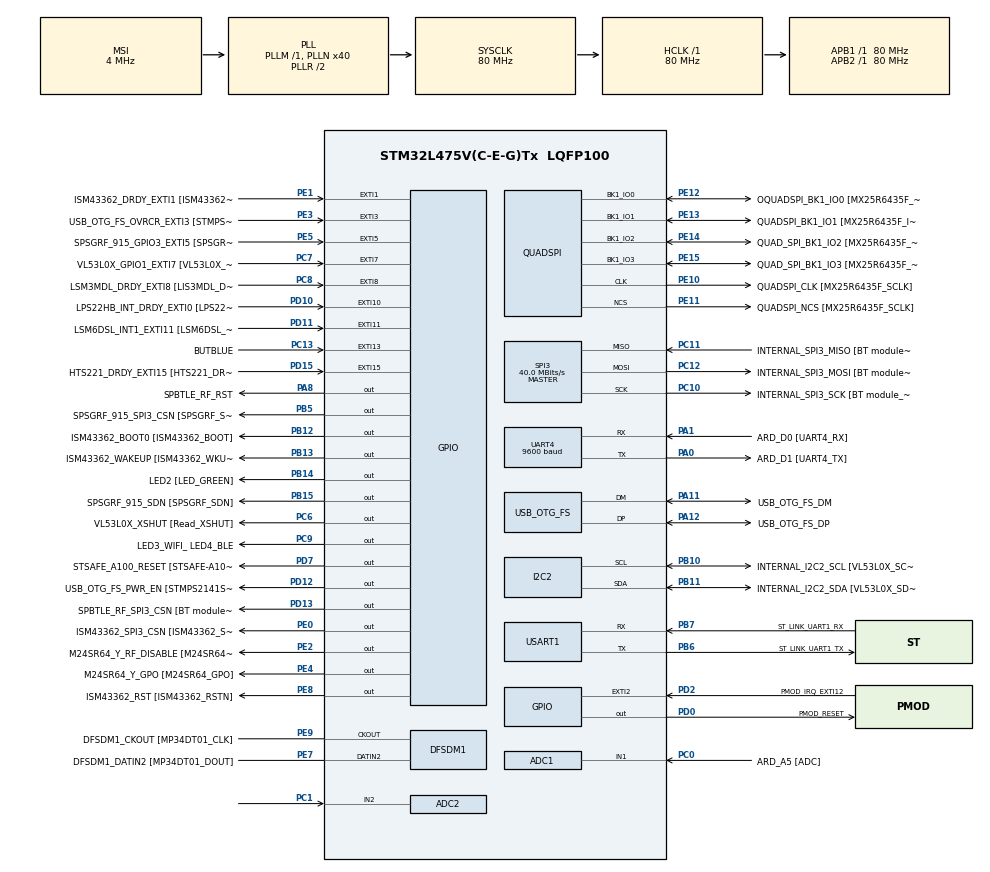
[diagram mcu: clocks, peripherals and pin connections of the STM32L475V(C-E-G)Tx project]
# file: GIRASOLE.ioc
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ADC1.Channel-0\#ChannelRegularConversion=ADC_CHANNEL_1
ADC1.NbrOfConversionFlag=1
ADC1.OffsetNumber-0\#ChannelRegularConversion=ADC_OFFSET_NONE
ADC1.Rank-0\#ChannelRegularConversion=1
ADC1.SamplingTime-0\#ChannelRegularConversion=ADC_SAMPLETIME_2CYCLES_5
ADC1.master=1
ADC2.Channel-0\#ChannelRegularConversion=ADC_CHANNEL_2
ADC2.NbrOfConversionFlag=1
ADC2.OffsetNumber-0\#ChannelRegularConversion=ADC_OFFSET_NONE
ADC2.Rank-0\#ChannelRegularConversion=1
ADC2.SamplingTime-0\#ChannelRegularConversion=ADC_SAMPLETIME_2CYCLES_5
FREERTOS.BinarySemaphores01=rpanel_sem,Dynamic,NULL;lpanel_sem,Dynamic,NULL;led1_sem,Dynamic,NULL;led2_sem,Dynamic,NULL;led3_sem,Dynamic,NULL;button_sem,Dynamic,NULL
FREERTOS.Mutexes01=MutexPD,Dynamic,NULL
FREERTOS.Tasks01=ReadLeftPanel,0,128,StartReadLeftPanel,Default,NULL,Dynamic,NULL,NULL;ReadRightPanel,0,128,StartReadRightPanel,Default,NULL,Dynamic,NULL,NULL;SerialDebug,0,128,StartSerialDebug,Default,NULL,Dynamic,NULL,NULL;SyncButtonTask,1,128,StartSyncButton,Default,NULL,Dynamic,NULL,NULL;ledTask1,0,128,StartLedTask1,Default,NULL,Dynamic,NULL,NULL;ledTask2,0,128,StartLedTask2,Default,NULL,Dynamic,NULL,NULL;ledTask3,0,128,StartLedTask3,Default,NULL,Dynamic,NULL,NULL
FREERTOS.configTOTAL_HEAP_SIZE=6000
Mcu.Family=STM32L4
Mcu.Name=STM32L475V(C-E-G)Tx
Mcu.Package=LQFP100
NVIC.EXTI15_10_IRQn=true\:5\:0\:false\:false\:true\:true\:true\:true
NVIC.EXTI9_5_IRQn=true\:5\:0\:false\:false\:true\:true\:true\:true
NVIC.PriorityGroup=NVIC_PRIORITYGROUP_4
NVIC.TIM1_UP_TIM16_IRQn=true\:0\:0\:false\:false\:true\:false\:false\:true
NVIC.TimeBase=TIM1_UP_TIM16_IRQn
NVIC.TimeBaseIP=TIM1
NVIC.UART4_IRQn=true\:5\:0\:false\:false\:true\:true\:true\:true
PA0.GPIO_Label=ARD_D1 [UART4_TX]
PA0.Mode=Asynchronous
PA0.Signal=UART4_TX
PA1.GPIO_Label=ARD_D0 [UART4_RX]
PA1.Mode=Asynchronous
PA1.Signal=UART4_RX
PA10.GPIO_Label=USB_OTG_FS_ID
PA10.Signal=USB_OTG_FS_ID
PA11.GPIO_Label=USB_OTG_FS_DM
PA11.Mode=Device_Only
PA11.Signal=USB_OTG_FS_DM
PA12.GPIO_Label=USB_OTG_FS_DP
PA12.Mode=Device_Only
PA12.Signal=USB_OTG_FS_DP
PA13\ (JTMS-SWDIO).GPIO_Label=SYS_JTMS_SWDIO
PA13\ (JTMS-SWDIO).Mode=Serial_Wire
PA13\ (JTMS-SWDIO).Signal=SYS_JTMS-SWDIO
PA14\ (JTCK-SWCLK).GPIO_Label=SYS_JTCK_SWCLK
PA14\ (JTCK-SWCLK).Mode=Serial_Wire
PA14\ (JTCK-SWCLK).Signal=SYS_JTCK-SWCLK
PA8.GPIO_Label=SPBTLE_RF_RST
PA8.Signal=GPIO_Output
PA9.GPIO_Label=USB_OTG_FS_VBUS [STMPS2141STR_OUT]
PA9.Signal=USB_OTG_FS_VBUS
PB10.GPIO_Label=INTERNAL_I2C2_SCL [VL53L0X_SCL]
PB10.Mode=I2C
PB10.Signal=I2C2_SCL
PB11.GPIO_Label=INTERNAL_I2C2_SDA [VL53L0X_SDA]
PB11.Mode=I2C
PB11.Signal=I2C2_SDA
PB12.GPIO_Label=ISM43362_BOOT0 [ISM43362_BOOT]
PB12.Signal=GPIO_Output
PB13.GPIO_Label=ISM43362_WAKEUP [ISM43362_WKUP]
PB13.Signal=GPIO_Output
PB14.GPIO_Label=LED2 [LED_GREEN]
PB14.Signal=GPIO_Output
PB15.GPIO_Label=SPSGRF_915_SDN [SPSGRF_SDN]
PB15.Signal=GPIO_Output
PB3\ (JTDO-TRACESWO).GPIO_Label=SYS_JTD0_SWO
PB3\ (JTDO-TRACESWO).Signal=SYS_JTDO-SWO
PB5.GPIO_Label=SPSGRF_915_SPI3_CSN [SPSGRF_SPI_CS]
PB5.PinState=GPIO_PIN_SET
PB5.Signal=GPIO_Output
PB6.GPIO_Label=ST_LINK_UART1_TX
PB6.Mode=Asynchronous
PB6.Signal=USART1_TX
PB7.GPIO_Label=ST_LINK_UART1_RX
PB7.Mode=Asynchronous
PB7.Signal=USART1_RX
PC0.GPIO_Label=ARD_A5 [ADC]
PC0.Signal=ADCx_IN1
PC1.Signal=ADCx_IN2
PC10.GPIO_Label=INTERNAL_SPI3_SCK [BT module_SPI_SCLK] [ISM43362_SCK]
PC10.Mode=Full_Duplex_Master
PC10.Signal=SPI3_SCK
PC11.GPIO_Label=INTERNAL_SPI3_MISO [BT module_SPI_MISO] [ISM43362_MISO]
PC11.Mode=Full_Duplex_Master
PC11.Signal=SPI3_MISO
PC12.GPIO_Label=INTERNAL_SPI3_MOSI [BT module_SPI_MOSI] [ISM43362_MOSI]
PC12.Mode=Full_Duplex_Master
PC12.Signal=SPI3_MOSI
PC13.GPIO_Label=BUTBLUE
PC13.GPIO_ModeDefaultEXTI=GPIO_MODE_IT_FALLING
PC13.Signal=GPXTI13
PC14-OSC32_IN\ (PC14).Mode=LSE-External-Oscillator
PC14-OSC32_IN\ (PC14).Signal=RCC_OSC32_IN
PC15-OSC32_OUT\ (PC15).Mode=LSE-External-Oscillator
PC15-OSC32_OUT\ (PC15).Signal=RCC_OSC32_OUT
PC6.GPIO_Label=VL53L0X_XSHUT [Read_XSHUT]
PC6.Signal=GPIO_Output
PC7.GPIO_Label=VL53L0X_GPIO1_EXTI7 [VL53L0X_GPIO1]
PC7.Signal=GPXTI7
PC8.GPIO_Label=LSM3MDL_DRDY_EXTI8 [LIS3MDL_DRDY]
PC8.Signal=GPXTI8
PC9.GPIO_Label=LED3_WIFI_ LED4_BLE
PC9.Signal=GPIO_Output
PD0.GPIO_Label=PMOD_RESET
PD0.Signal=GPIO_Output
PD1.GPIO_Label=PMOD_SPI2_SCK
PD1.Signal=SPI2_SCK
PD10.GPIO_Label=LPS22HB_INT_DRDY_EXTI0 [LPS22HB_INT_DRDY] 
PD10.Signal=GPXTI10
PD11.GPIO_Label=LSM6DSL_INT1_EXTI11 [LSM6DSL_INT1]
PD11.Signal=GPXTI11
PD12.GPIO_Label=USB_OTG_FS_PWR_EN [STMPS2141STR_EN]
PD12.Signal=GPIO_Output
PD13.GPIO_Label=SPBTLE_RF_SPI3_CSN [BT module_SPI_CS]
PD13.PinState=GPIO_PIN_SET
PD13.Signal=GPIO_Output
PD15.GPIO_Label=HTS221_DRDY_EXTI15 [HTS221_DRDY]
PD15.Signal=GPXTI15
PD2.GPIO_Label=PMOD_IRQ_EXTI12
PD2.Signal=GPXTI2
PD7.GPIO_Label=STSAFE_A100_RESET [STSAFE-A100_RESET]
PD7.Signal=GPIO_Output
PD8.GPIO_Label=INTERNAL_UART3_TX [ISM43362_RX]
PD8.Signal=USART3_TX
PD9.GPIO_Label=INTERNAL_UART3_RX [ISM43362_TX]
PD9.Signal=USART3_RX
PE0.GPIO_Label=ISM43362_SPI3_CSN [ISM43362_SSN]
PE0.PinState=GPIO_PIN_SET
PE0.Signal=GPIO_Output
PE1.GPIO_Label=ISM43362_DRDY_EXTI1 [ISM43362_DATARDY]
PE1.Signal=GPXTI1
PE10.GPIO_Label=QUADSPI_CLK [MX25R6435F_SCLK]
PE10.Mode=Single Bank
PE10.Signal=QUADSPI_CLK
PE11.GPIO_Label=QUADSPI_NCS [MX25R6435F_SCLK]
PE11.Mode=Single Bank
PE11.Signal=QUADSPI_NCS
PE12.GPIO_Label=OQUADSPI_BK1_IO0 [MX25R6435F_IO0]
PE12.Mode=Single Bank
PE12.Signal=QUADSPI_BK1_IO0
PE13.GPIO_Label=QUADSPI_BK1_IO1 [MX25R6435F_IO1]
PE13.Mode=Single Bank
PE13.Signal=QUADSPI_BK1_IO1
PE14.GPIO_Label=QUAD_SPI_BK1_IO2 [MX25R6435F_IO2]
PE14.Mode=Single Bank
PE14.Signal=QUADSPI_BK1_IO2
PE15.GPIO_Label=QUAD_SPI_BK1_IO3 [MX25R6435F_IO3]
PE15.Mode=Single Bank
PE15.Signal=QUADSPI_BK1_IO3
PE2.GPIO_Label=M24SR64_Y_RF_DISABLE [M24SR64_RFDIS]
PE2.Signal=GPIO_Output
PE3.GPIO_Label=USB_OTG_FS_OVRCR_EXTI3 [STMPS2141STR_FAULT]
PE3.Signal=GPXTI3
PE4.GPIO_Label=M24SR64_Y_GPO [M24SR64_GPO]
PE4.Signal=GPIO_Output
PE5.GPIO_Label=SPSGRF_915_GPIO3_EXTI5 [SPSGRF_GPIO_3]
PE5.Signal=GPXTI5
PE7.GPIO_Label=DFSDM1_DATIN2 [MP34DT01_DOUT]
PE7.Signal=S_DATAIN2DFSDM1
PE8.GPIO_Label=ISM43362_RST [ISM43362_RSTN]
PE8.Signal=GPIO_Output
PE9.GPIO_Label=DFSDM1_CKOUT [MP34DT01_CLK]
PE9.Signal=S_CKOUTDFSDM1
ProjectManager.HeapSize=0x200
ProjectManager.StackSize=0x400
ProjectManager.TargetToolchain=STM32CubeIDE
RCC.ADCFreq_Value=48000000
RCC.AHBFreq_Value=80000000
RCC.APB1Freq_Value=80000000
RCC.APB1TimFreq_Value=80000000
RCC.APB2Freq_Value=80000000
RCC.APB2TimFreq_Value=80000000
RCC.CortexFreq_Value=80000000
RCC.HCLKFreq_Value=80000000
RCC.HSE_VALUE=8000000
RCC.HSI_VALUE=16000000
RCC.MSI_VALUE=4000000
RCC.PLLN=40
RCC.PLLSAI1N=24
RCC.SYSCLKFreq_VALUE=80000000
RCC.SYSCLKSource=RCC_SYSCLKSOURCE_PLLCLK
RCC.USBFreq_Value=48000000
RCC.VCOOutputFreq_Value=160000000
SH.ADCx_IN1.0=ADC1_IN1,IN1-Single-Ended
SH.ADCx_IN2.0=ADC1_IN2
SH.ADCx_IN2.1=ADC2_IN2,IN2-Single-Ended
SH.S_CKOUTDFSDM1.0=DFSDM1_CKOUT,CKOUT
SH.S_CKOUTDFSDM1.1=DFSDM1_CKOUT,PDM_SPI_Input_from_ch12_and_Internal_Clock
SH.S_DATAIN2DFSDM1.0=DFSDM1_DATIN2,PDM_SPI_Input_from_ch12_and_Internal_Clock
SPI3.CalculateBaudRate=40.0 MBits/s
SPI3.Direction=SPI_DIRECTION_2LINES
SPI3.Mode=SPI_MODE_MASTER
SPI3.VirtualType=VM_MASTER
UART4.BaudRate=9600
USART1.VirtualMode-Asynchronous=VM_ASYNC
USB_OTG_FS.VirtualMode=Device_Only
VP_FREERTOS_VS_CMSIS_V1.Mode=CMSIS_V1
VP_SYS_VS_tim1.Mode=TIM1
board=B-L475E-IOT01A1

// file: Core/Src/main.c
/* USER CODE BEGIN Header */
/**
  ******************************************************************************
  * @file           : main.c
  * @brief          : Main program body
  ******************************************************************************
  * @attention
  *
  * <h2><center>&copy; Copyright (c) 2020 STMicroelectronics.
  * All rights reserved.</center></h2>
  *
  * This software component is licensed by ST under BSD 3-Clause license,
  * the "License"; You may not use this file except in compliance with the
  * License. You may obtain a copy of the License at:
  *                        opensource.org/licenses/BSD-3-Clause
  *
  ******************************************************************************
  */
/* USER CODE END Header */

#include "main.h"
#include "cmsis_os.h"

/* USER CODE BEGIN PM */
#define SERIAL
#define BLUETOOTH
/* USER CODE END PM */

ADC_HandleTypeDef hadc1;
ADC_HandleTypeDef hadc2;

DFSDM_Channel_HandleTypeDef hdfsdm1_channel1;

I2C_HandleTypeDef hi2c2;

QSPI_HandleTypeDef hqspi;

SPI_HandleTypeDef hspi3;

UART_HandleTypeDef huart4;
UART_HandleTypeDef huart1;

PCD_HandleTypeDef hpcd_USB_OTG_FS;

osThreadId ReadLeftPanelHandle;
osThreadId ReadRightPanelHandle;
osThreadId SerialDebugHandle;
osThreadId SyncButtonTaskHandle;
osThreadId ledTask1Handle;
osThreadId ledTask2Handle;
osThreadId ledTask3Handle;
osMutexId MutexPDHandle;
osMutexId panelsMutexHandle;
osSemaphoreId rpanel_semHandle;
osSemaphoreId lpanel_semHandle;
osSemaphoreId led1_semHandle;
osSemaphoreId led2_semHandle;
osSemaphoreId led3_semHandle;
osSemaphoreId button_semHandle;
/* USER CODE BEGIN PV */
uint8_t* Rx_Data[1];
/* USER CODE END PV */

void SystemClock_Config(void);
static void MX_GPIO_Init(void);
static void MX_DFSDM1_Init(void);
static void MX_I2C2_Init(void);
static void MX_QUADSPI_Init(void);
static void MX_SPI3_Init(void);
static void MX_USART1_UART_Init(void);
static void MX_USB_OTG_FS_PCD_Init(void);
static void MX_ADC1_Init(void);
static void MX_ADC2_Init(void);
static void MX_UART4_Init(void);
void StartReadLeftPanel(void const * argument);
void StartReadRightPanel(void const * argument);
void StartSerialDebug(void const * argument);
void StartSyncButton(void const * argument);
void StartLedTask1(void const * argument);
void StartLedTask2(void const * argument);
void StartLedTask3(void const * argument);

/* USER CODE BEGIN 0 */

// Structure for panels data
struct panelsData {
	int rightPanelValue, leftPanelValue, threshold, variation;
} pd;

// Function to initialize panel data
void panelDataInit() {
	pd.leftPanelValue = 0;
	pd.rightPanelValue = 0;
	pd.threshold = 10;
	pd.variation = 10;
}

//Structure for precedence constraints management
struct prec_control {
	int lpw, rpw;
	int l1w, l2w, l3w;
	int lpanel_done, rpanel_done;
	int led1_done, led2_done, led3_done;
	int button_wait, button_can_do;
} pcm;

void prec_control_manag_init()
{
	pcm.lpw = pcm.rpw = 0;
	pcm.l1w = pcm.l2w = pcm.l3w = 0;
	pcm.lpanel_done = pcm.rpanel_done = 0;
	pcm.led1_done = pcm.led2_done = pcm.led3_done = 1;
	pcm.button_wait = pcm.button_can_do = 0;
}

// Variable on 1 if button has been pressed
extern int blue_button_pressed;

/* USER CODE END 0 */

int main(void)
{
  /* USER CODE BEGIN 1 */
	// Initialize panels data structure
	panelDataInit();
	// Initialize control data structure
	prec_control_manag_init();
  /* USER CODE END 1 */

  /* MCU Configuration--------------------------------------------------------*/

  /* Reset of all peripherals, Initializes the Flash interface and the Systick. */
  HAL_Init();

  /* Configure the system clock */
  SystemClock_Config();

  /* Initialize all configured peripherals */
  MX_GPIO_Init();
  MX_DFSDM1_Init();
  MX_I2C2_Init();
  MX_QUADSPI_Init();
  MX_SPI3_Init();
  MX_USART1_UART_Init();
  MX_USB_OTG_FS_PCD_Init();
  MX_ADC1_Init();
  MX_ADC2_Init();
  MX_UART4_Init();
  /* USER CODE BEGIN 2 */
  // Enable huart4 interrupt mode
  __HAL_UART_ENABLE_IT(&huart4, UART_IT_RXNE);
  __HAL_UART_ENABLE_IT(&huart4, UART_IT_TC);
  /* USER CODE END 2 */

  /* Create the mutex(es) */
  /* definition and creation of MutexPD */
  osMutexDef(MutexPD);
  MutexPDHandle = osMutexCreate(osMutex(MutexPD));

  /* USER CODE BEGIN RTOS_MUTEX */
  /* add mutexes, ... */
  //osMutexWait(panelsMutexHandle, osWaitForever);
  /* USER CODE END RTOS_MUTEX */

  /* Create the semaphores(s) */
  /* definition and creation of rpanel_sem */
  osSemaphoreDef(rpanel_sem);
  rpanel_semHandle = osSemaphoreCreate(osSemaphore(rpanel_sem), 1);

  /* definition and creation of lpanel_sem */
  osSemaphoreDef(lpanel_sem);
  lpanel_semHandle = osSemaphoreCreate(osSemaphore(lpanel_sem), 1);

  /* definition and creation of led1_sem */
  osSemaphoreDef(led1_sem);
  led1_semHandle = osSemaphoreCreate(osSemaphore(led1_sem), 1);

  /* definition and creation of led2_sem */
  osSemaphoreDef(led2_sem);
  led2_semHandle = osSemaphoreCreate(osSemaphore(led2_sem), 1);

  /* definition and creation of led3_sem */
  osSemaphoreDef(led3_sem);
  led3_semHandle = osSemaphoreCreate(osSemaphore(led3_sem), 1);

  /* definition and creation of button_sem */
  osSemaphoreDef(button_sem);
  button_semHandle = osSemaphoreCreate(osSemaphore(button_sem), 1);

  /* Create the thread(s) */
  /* definition and creation of ReadLeftPanel */
  osThreadDef(ReadLeftPanel, StartReadLeftPanel, osPriorityNormal, 0, 128);
  ReadLeftPanelHandle = osThreadCreate(osThread(ReadLeftPanel), NULL);

  /* definition and creation of ReadRightPanel */
  osThreadDef(ReadRightPanel, StartReadRightPanel, osPriorityNormal, 0, 128);
  ReadRightPanelHandle = osThreadCreate(osThread(ReadRightPanel), NULL);

  /* definition and creation of SerialDebug */
  osThreadDef(SerialDebug, StartSerialDebug, osPriorityNormal, 0, 128);
  SerialDebugHandle = osThreadCreate(osThread(SerialDebug), NULL);

  /* definition and creation of SyncButtonTask */
  osThreadDef(SyncButtonTask, StartSyncButton, osPriorityAboveNormal, 0, 128);
  SyncButtonTaskHandle = osThreadCreate(osThread(SyncButtonTask), NULL);

  /* definition and creation of ledTask1 */
  osThreadDef(ledTask1, StartLedTask1, osPriorityNormal, 0, 128);
  ledTask1Handle = osThreadCreate(osThread(ledTask1), NULL);

  /* definition and creation of ledTask2 */
  osThreadDef(ledTask2, StartLedTask2, osPriorityNormal, 0, 128);
  ledTask2Handle = osThreadCreate(osThread(ledTask2), NULL);

  /* definition and creation of ledTask3 */
  osThreadDef(ledTask3, StartLedTask3, osPriorityNormal, 0, 128);
  ledTask3Handle = osThreadCreate(osThread(ledTask3), NULL);

  /* Start scheduler */
  osKernelStart();

  /* We should never get here as control is now taken by the scheduler */

  /* Infinite loop */
  while (1)
  {

  }
}

void SystemClock_Config(void)
{
  RCC_OscInitTypeDef RCC_OscInitStruct = {0};
  RCC_ClkInitTypeDef RCC_ClkInitStruct = {0};
  RCC_PeriphCLKInitTypeDef PeriphClkInit = {0};

  /** Configure LSE Drive Capability
  */
  HAL_PWR_EnableBkUpAccess();
  __HAL_RCC_LSEDRIVE_CONFIG(RCC_LSEDRIVE_LOW);
  /** Initializes the CPU, AHB and APB busses clocks
  */
  RCC_OscInitStruct.OscillatorType = RCC_OSCILLATORTYPE_LSE|RCC_OSCILLATORTYPE_MSI;
  RCC_OscInitStruct.LSEState = RCC_LSE_ON;
  RCC_OscInitStruct.MSIState = RCC_MSI_ON;
  RCC_OscInitStruct.MSICalibrationValue = 0;
  RCC_OscInitStruct.MSIClockRange = RCC_MSIRANGE_6;
  RCC_OscInitStruct.PLL.PLLState = RCC_PLL_ON;
  RCC_OscInitStruct.PLL.PLLSource = RCC_PLLSOURCE_MSI;
  RCC_OscInitStruct.PLL.PLLM = 1;
  RCC_OscInitStruct.PLL.PLLN = 40;
  RCC_OscInitStruct.PLL.PLLP = RCC_PLLP_DIV7;
  RCC_OscInitStruct.PLL.PLLQ = RCC_PLLQ_DIV2;
  RCC_OscInitStruct.PLL.PLLR = RCC_PLLR_DIV2;
  if (HAL_RCC_OscConfig(&RCC_OscInitStruct) != HAL_OK)
  {
    Error_Handler();
  }
  /** Initializes the CPU, AHB and APB busses clocks
  */
  RCC_ClkInitStruct.ClockType = RCC_CLOCKTYPE_HCLK|RCC_CLOCKTYPE_SYSCLK
                              |RCC_CLOCKTYPE_PCLK1|RCC_CLOCKTYPE_PCLK2;
  RCC_ClkInitStruct.SYSCLKSource = RCC_SYSCLKSOURCE_PLLCLK;
  RCC_ClkInitStruct.AHBCLKDivider = RCC_SYSCLK_DIV1;
  RCC_ClkInitStruct.APB1CLKDivider = RCC_HCLK_DIV1;
  RCC_ClkInitStruct.APB2CLKDivider = RCC_HCLK_DIV1;

  if (HAL_RCC_ClockConfig(&RCC_ClkInitStruct, FLASH_LATENCY_4) != HAL_OK)
  {
    Error_Handler();
  }
  PeriphClkInit.PeriphClockSelection = RCC_PERIPHCLK_USART1|RCC_PERIPHCLK_UART4
                              |RCC_PERIPHCLK_I2C2|RCC_PERIPHCLK_DFSDM1
                              |RCC_PERIPHCLK_USB|RCC_PERIPHCLK_ADC;
  PeriphClkInit.Usart1ClockSelection = RCC_USART1CLKSOURCE_PCLK2;
  PeriphClkInit.Uart4ClockSelection = RCC_UART4CLKSOURCE_PCLK1;
  PeriphClkInit.I2c2ClockSelection = RCC_I2C2CLKSOURCE_PCLK1;
  PeriphClkInit.AdcClockSelection = RCC_ADCCLKSOURCE_PLLSAI1;
  PeriphClkInit.Dfsdm1ClockSelection = RCC_DFSDM1CLKSOURCE_PCLK;
  PeriphClkInit.UsbClockSelection = RCC_USBCLKSOURCE_PLLSAI1;
  PeriphClkInit.PLLSAI1.PLLSAI1Source = RCC_PLLSOURCE_MSI;
  PeriphClkInit.PLLSAI1.PLLSAI1M = 1;
  PeriphClkInit.PLLSAI1.PLLSAI1N = 24;
  PeriphClkInit.PLLSAI1.PLLSAI1P = RCC_PLLP_DIV7;
  PeriphClkInit.PLLSAI1.PLLSAI1Q = RCC_PLLQ_DIV2;
  PeriphClkInit.PLLSAI1.PLLSAI1R = RCC_PLLR_DIV2;
  PeriphClkInit.PLLSAI1.PLLSAI1ClockOut = RCC_PLLSAI1_48M2CLK|RCC_PLLSAI1_ADC1CLK;
  if (HAL_RCCEx_PeriphCLKConfig(&PeriphClkInit) != HAL_OK)
  {
    Error_Handler();
  }
  /** Configure the main internal regulator output voltage
  */
  if (HAL_PWREx_ControlVoltageScaling(PWR_REGULATOR_VOLTAGE_SCALE1) != HAL_OK)
  {
    Error_Handler();
  }
  /** Enable MSI Auto calibration
  */
  HAL_RCCEx_EnableMSIPLLMode();
}

static void MX_ADC1_Init(void)
{

  ADC_MultiModeTypeDef multimode = {0};
  ADC_ChannelConfTypeDef sConfig = {0};

  /** Common config
  */
  hadc1.Instance = ADC1;
  hadc1.Init.ClockPrescaler = ADC_CLOCK_ASYNC_DIV1;
  hadc1.Init.Resolution = ADC_RESOLUTION_12B;
  hadc1.Init.DataAlign = ADC_DATAALIGN_RIGHT;
  hadc1.Init.ScanConvMode = ADC_SCAN_DISABLE;
  hadc1.Init.EOCSelection = ADC_EOC_SINGLE_CONV;
  hadc1.Init.LowPowerAutoWait = DISABLE;
  hadc1.Init.ContinuousConvMode = DISABLE;
  hadc1.Init.NbrOfConversion = 1;
  hadc1.Init.DiscontinuousConvMode = DISABLE;
  hadc1.Init.ExternalTrigConv = ADC_SOFTWARE_START;
  hadc1.Init.ExternalTrigConvEdge = ADC_EXTERNALTRIGCONVEDGE_NONE;
  hadc1.Init.DMAContinuousRequests = DISABLE;
  hadc1.Init.Overrun = ADC_OVR_DATA_PRESERVED;
  hadc1.Init.OversamplingMode = DISABLE;
  if (HAL_ADC_Init(&hadc1) != HAL_OK)
  {
    Error_Handler();
  }
  /** Configure the ADC multi-mode
  */
  multimode.Mode = ADC_MODE_INDEPENDENT;
  if (HAL_ADCEx_MultiModeConfigChannel(&hadc1, &multimode) != HAL_OK)
  {
    Error_Handler();
  }
  /** Configure Regular Channel
  */
  sConfig.Channel = ADC_CHANNEL_1;
  sConfig.Rank = ADC_REGULAR_RANK_1;
  sConfig.SamplingTime = ADC_SAMPLETIME_2CYCLES_5;
  sConfig.SingleDiff = ADC_SINGLE_ENDED;
  sConfig.OffsetNumber = ADC_OFFSET_NONE;
  sConfig.Offset = 0;
  if (HAL_ADC_ConfigChannel(&hadc1, &sConfig) != HAL_OK)
  {
    Error_Handler();
  }

}

static void MX_ADC2_Init(void)
{

  ADC_ChannelConfTypeDef sConfig = {0};

  /** Common config
  */
  hadc2.Instance = ADC2;
  hadc2.Init.ClockPrescaler = ADC_CLOCK_ASYNC_DIV1;
  hadc2.Init.Resolution = ADC_RESOLUTION_12B;
  hadc2.Init.DataAlign = ADC_DATAALIGN_RIGHT;
  hadc2.Init.ScanConvMode = ADC_SCAN_DISABLE;
  hadc2.Init.EOCSelection = ADC_EOC_SINGLE_CONV;
  hadc2.Init.LowPowerAutoWait = DISABLE;
  hadc2.Init.ContinuousConvMode = DISABLE;
  hadc2.Init.NbrOfConversion = 1;
  hadc2.Init.DiscontinuousConvMode = DISABLE;
  hadc2.Init.ExternalTrigConv = ADC_SOFTWARE_START;
  hadc2.Init.ExternalTrigConvEdge = ADC_EXTERNALTRIGCONVEDGE_NONE;
  hadc2.Init.DMAContinuousRequests = DISABLE;
  hadc2.Init.Overrun = ADC_OVR_DATA_PRESERVED;
  hadc2.Init.OversamplingMode = DISABLE;
  if (HAL_ADC_Init(&hadc2) != HAL_OK)
  {
    Error_Handler();
  }
  /** Configure Regular Channel
  */
  sConfig.Channel = ADC_CHANNEL_2;
  sConfig.Rank = ADC_REGULAR_RANK_1;
  sConfig.SamplingTime = ADC_SAMPLETIME_2CYCLES_5;
  sConfig.SingleDiff = ADC_SINGLE_ENDED;
  sConfig.OffsetNumber = ADC_OFFSET_NONE;
  sConfig.Offset = 0;
  if (HAL_ADC_ConfigChannel(&hadc2, &sConfig) != HAL_OK)
  {
    Error_Handler();
  }

}

static void MX_DFSDM1_Init(void)
{

  hdfsdm1_channel1.Instance = DFSDM1_Channel1;
  hdfsdm1_channel1.Init.OutputClock.Activation = ENABLE;
  hdfsdm1_channel1.Init.OutputClock.Selection = DFSDM_CHANNEL_OUTPUT_CLOCK_SYSTEM;
  hdfsdm1_channel1.Init.OutputClock.Divider = 2;
  hdfsdm1_channel1.Init.Input.Multiplexer = DFSDM_CHANNEL_EXTERNAL_INPUTS;
  hdfsdm1_channel1.Init.Input.DataPacking = DFSDM_CHANNEL_STANDARD_MODE;
  hdfsdm1_channel1.Init.Input.Pins = DFSDM_CHANNEL_FOLLOWING_CHANNEL_PINS;
  hdfsdm1_channel1.Init.SerialInterface.Type = DFSDM_CHANNEL_SPI_RISING;
  hdfsdm1_channel1.Init.SerialInterface.SpiClock = DFSDM_CHANNEL_SPI_CLOCK_INTERNAL;
  hdfsdm1_channel1.Init.Awd.FilterOrder = DFSDM_CHANNEL_FASTSINC_ORDER;
  hdfsdm1_channel1.Init.Awd.Oversampling = 1;
  hdfsdm1_channel1.Init.Offset = 0;
  hdfsdm1_channel1.Init.RightBitShift = 0x00;
  if (HAL_DFSDM_ChannelInit(&hdfsdm1_channel1) != HAL_OK)
  {
    Error_Handler();
  }

}

static void MX_I2C2_Init(void)
{

  hi2c2.Instance = I2C2;
  hi2c2.Init.Timing = 0x10909CEC;
  hi2c2.Init.OwnAddress1 = 0;
  hi2c2.Init.AddressingMode = I2C_ADDRESSINGMODE_7BIT;
  hi2c2.Init.DualAddressMode = I2C_DUALADDRESS_DISABLE;
  hi2c2.Init.OwnAddress2 = 0;
  hi2c2.Init.OwnAddress2Masks = I2C_OA2_NOMASK;
  hi2c2.Init.GeneralCallMode = I2C_GENERALCALL_DISABLE;
  hi2c2.Init.NoStretchMode = I2C_NOSTRETCH_DISABLE;
  if (HAL_I2C_Init(&hi2c2) != HAL_OK)
  {
    Error_Handler();
  }
  /** Configure Analogue filter
  */
  if (HAL_I2CEx_ConfigAnalogFilter(&hi2c2, I2C_ANALOGFILTER_ENABLE) != HAL_OK)
  {
    Error_Handler();
  }
  /** Configure Digital filter
  */
  if (HAL_I2CEx_ConfigDigitalFilter(&hi2c2, 0) != HAL_OK)
  {
    Error_Handler();
  }

}

static void MX_QUADSPI_Init(void)
{

  /* QUADSPI parameter configuration*/
  hqspi.Instance = QUADSPI;
  hqspi.Init.ClockPrescaler = 255;
  hqspi.Init.FifoThreshold = 1;
  hqspi.Init.SampleShifting = QSPI_SAMPLE_SHIFTING_NONE;
  hqspi.Init.FlashSize = 1;
  hqspi.Init.ChipSelectHighTime = QSPI_CS_HIGH_TIME_1_CYCLE;
  hqspi.Init.ClockMode = QSPI_CLOCK_MODE_0;
  if (HAL_QSPI_Init(&hqspi) != HAL_OK)
  {
    Error_Handler();
  }

}

static void MX_SPI3_Init(void)
{

  /* SPI3 parameter configuration*/
  hspi3.Instance = SPI3;
  hspi3.Init.Mode = SPI_MODE_MASTER;
  hspi3.Init.Direction = SPI_DIRECTION_2LINES;
  hspi3.Init.DataSize = SPI_DATASIZE_4BIT;
  hspi3.Init.CLKPolarity = SPI_POLARITY_LOW;
  hspi3.Init.CLKPhase = SPI_PHASE_1EDGE;
  hspi3.Init.NSS = SPI_NSS_SOFT;
  hspi3.Init.BaudRatePrescaler = SPI_BAUDRATEPRESCALER_2;
  hspi3.Init.FirstBit = SPI_FIRSTBIT_MSB;
  hspi3.Init.TIMode = SPI_TIMODE_DISABLE;
  hspi3.Init.CRCCalculation = SPI_CRCCALCULATION_DISABLE;
  hspi3.Init.CRCPolynomial = 7;
  hspi3.Init.CRCLength = SPI_CRC_LENGTH_DATASIZE;
  hspi3.Init.NSSPMode = SPI_NSS_PULSE_ENABLE;
  if (HAL_SPI_Init(&hspi3) != HAL_OK)
  {
    Error_Handler();
  }

}

static void MX_UART4_Init(void)
{

  huart4.Instance = UART4;
  huart4.Init.BaudRate = 9600;
  huart4.Init.WordLength = UART_WORDLENGTH_8B;
  huart4.Init.StopBits = UART_STOPBITS_1;
  huart4.Init.Parity = UART_PARITY_NONE;
  huart4.Init.Mode = UART_MODE_TX_RX;
  huart4.Init.HwFlowCtl = UART_HWCONTROL_NONE;
  huart4.Init.OverSampling = UART_OVERSAMPLING_16;
  huart4.Init.OneBitSampling = UART_ONE_BIT_SAMPLE_DISABLE;
  huart4.AdvancedInit.AdvFeatureInit = UART_ADVFEATURE_NO_INIT;
  if (HAL_UART_Init(&huart4) != HAL_OK)
  {
    Error_Handler();
  }

}

static void MX_USART1_UART_Init(void)
{

  huart1.Instance = USART1;
  huart1.Init.BaudRate = 115200;
  huart1.Init.WordLength = UART_WORDLENGTH_8B;
  huart1.Init.StopBits = UART_STOPBITS_1;
  huart1.Init.Parity = UART_PARITY_NONE;
  huart1.Init.Mode = UART_MODE_TX_RX;
  huart1.Init.HwFlowCtl = UART_HWCONTROL_NONE;
  huart1.Init.OverSampling = UART_OVERSAMPLING_16;
  huart1.Init.OneBitSampling = UART_ONE_BIT_SAMPLE_DISABLE;
  huart1.AdvancedInit.AdvFeatureInit = UART_ADVFEATURE_NO_INIT;
  if (HAL_UART_Init(&huart1) != HAL_OK)
  {
    Error_Handler();
  }

}

static void MX_USB_OTG_FS_PCD_Init(void)
{

  hpcd_USB_OTG_FS.Instance = USB_OTG_FS;
  hpcd_USB_OTG_FS.Init.dev_endpoints = 6;
  hpcd_USB_OTG_FS.Init.speed = PCD_SPEED_FULL;
  hpcd_USB_OTG_FS.Init.phy_itface = PCD_PHY_EMBEDDED;
  hpcd_USB_OTG_FS.Init.Sof_enable = DISABLE;
  hpcd_USB_OTG_FS.Init.low_power_enable = DISABLE;
  hpcd_USB_OTG_FS.Init.lpm_enable = DISABLE;
  hpcd_USB_OTG_FS.Init.battery_charging_enable = DISABLE;
  hpcd_USB_OTG_FS.Init.use_dedicated_ep1 = DISABLE;
  hpcd_USB_OTG_FS.Init.vbus_sensing_enable = DISABLE;
  if (HAL_PCD_Init(&hpcd_USB_OTG_FS) != HAL_OK)
  {
    Error_Handler();
  }

}

static void MX_GPIO_Init(void)
{
  GPIO_InitTypeDef GPIO_InitStruct = {0};

  /* GPIO Ports Clock Enable */
  __HAL_RCC_GPIOE_CLK_ENABLE();
  __HAL_RCC_GPIOC_CLK_ENABLE();
  __HAL_RCC_GPIOA_CLK_ENABLE();
  __HAL_RCC_GPIOB_CLK_ENABLE();
  __HAL_RCC_GPIOD_CLK_ENABLE();

  /*Configure GPIO pin Output Level */
  HAL_GPIO_WritePin(GPIOE, M24SR64_Y_RF_DISABLE_Pin|M24SR64_Y_GPO_Pin|ISM43362_RST_Pin, GPIO_PIN_RESET);

  /*Configure GPIO pin Output Level */
  HAL_GPIO_WritePin(GPIOB, ISM43362_BOOT0_Pin|ISM43362_WAKEUP_Pin|LED2_Pin|SPSGRF_915_SDN_Pin, GPIO_PIN_RESET);

  /*Configure GPIO pin Output Level */
  HAL_GPIO_WritePin(GPIOD, USB_OTG_FS_PWR_EN_Pin|PMOD_RESET_Pin|STSAFE_A100_RESET_Pin, GPIO_PIN_RESET);

  /*Configure GPIO pin Output Level */
  HAL_GPIO_WritePin(SPBTLE_RF_SPI3_CSN_GPIO_Port, SPBTLE_RF_SPI3_CSN_Pin, GPIO_PIN_SET);

  /*Configure GPIO pin Output Level */
  HAL_GPIO_WritePin(GPIOC, VL53L0X_XSHUT_Pin|LED3_WIFI__LED4_BLE_Pin, GPIO_PIN_RESET);

  /*Configure GPIO pin Output Level */
  HAL_GPIO_WritePin(SPBTLE_RF_RST_GPIO_Port, SPBTLE_RF_RST_Pin, GPIO_PIN_RESET);

  /*Configure GPIO pin Output Level */
  HAL_GPIO_WritePin(SPSGRF_915_SPI3_CSN_GPIO_Port, SPSGRF_915_SPI3_CSN_Pin, GPIO_PIN_SET);

  /*Configure GPIO pin Output Level */
  HAL_GPIO_WritePin(ISM43362_SPI3_CSN_GPIO_Port, ISM43362_SPI3_CSN_Pin, GPIO_PIN_SET);

  /*Configure GPIO pins : M24SR64_Y_RF_DISABLE_Pin M24SR64_Y_GPO_Pin ISM43362_RST_Pin ISM43362_SPI3_CSN_Pin */
  GPIO_InitStruct.Pin = M24SR64_Y_RF_DISABLE_Pin|M24SR64_Y_GPO_Pin|ISM43362_RST_Pin|ISM43362_SPI3_CSN_Pin;
  GPIO_InitStruct.Mode = GPIO_MODE_OUTPUT_PP;
  GPIO_InitStruct.Pull = GPIO_NOPULL;
  GPIO_InitStruct.Speed = GPIO_SPEED_FREQ_LOW;
  HAL_GPIO_Init(GPIOE, &GPIO_InitStruct);

  /*Configure GPIO pins : USB_OTG_FS_OVRCR_EXTI3_Pin SPSGRF_915_GPIO3_EXTI5_Pin ISM43362_DRDY_EXTI1_Pin */
  GPIO_InitStruct.Pin = USB_OTG_FS_OVRCR_EXTI3_Pin|SPSGRF_915_GPIO3_EXTI5_Pin|ISM43362_DRDY_EXTI1_Pin;
  GPIO_InitStruct.Mode = GPIO_MODE_IT_RISING;
  GPIO_InitStruct.Pull = GPIO_NOPULL;
  HAL_GPIO_Init(GPIOE, &GPIO_InitStruct);

  /*Configure GPIO pin : BUTBLUE_Pin */
  GPIO_InitStruct.Pin = BUTBLUE_Pin;
  GPIO_InitStruct.Mode = GPIO_MODE_IT_FALLING;
  GPIO_InitStruct.Pull = GPIO_NOPULL;
  HAL_GPIO_Init(BUTBLUE_GPIO_Port, &GPIO_InitStruct);

  /*Configure GPIO pins : ISM43362_BOOT0_Pin ISM43362_WAKEUP_Pin LED2_Pin SPSGRF_915_SDN_Pin
                           SPSGRF_915_SPI3_CSN_Pin */
  GPIO_InitStruct.Pin = ISM43362_BOOT0_Pin|ISM43362_WAKEUP_Pin|LED2_Pin|SPSGRF_915_SDN_Pin
                          |SPSGRF_915_SPI3_CSN_Pin;
  GPIO_InitStruct.Mode = GPIO_MODE_OUTPUT_PP;
  GPIO_InitStruct.Pull = GPIO_NOPULL;
  GPIO_InitStruct.Speed = GPIO_SPEED_FREQ_LOW;
  HAL_GPIO_Init(GPIOB, &GPIO_InitStruct);

  /*Configure GPIO pins : INTERNAL_UART3_TX_Pin INTERNAL_UART3_RX_Pin */
  GPIO_InitStruct.Pin = INTERNAL_UART3_TX_Pin|INTERNAL_UART3_RX_Pin;
  GPIO_InitStruct.Mode = GPIO_MODE_AF_PP;
  GPIO_InitStruct.Pull = GPIO_NOPULL;
  GPIO_InitStruct.Speed = GPIO_SPEED_FREQ_VERY_HIGH;
  GPIO_InitStruct.Alternate = GPIO_AF7_USART3;
  HAL_GPIO_Init(GPIOD, &GPIO_InitStruct);

  /*Configure GPIO pins : LPS22HB_INT_DRDY_EXTI0_Pin LSM6DSL_INT1_EXTI11_Pin HTS221_DRDY_EXTI15_Pin PMOD_IRQ_EXTI12_Pin */
  GPIO_InitStruct.Pin = LPS22HB_INT_DRDY_EXTI0_Pin|LSM6DSL_INT1_EXTI11_Pin|HTS221_DRDY_EXTI15_Pin|PMOD_IRQ_EXTI12_Pin;
  GPIO_InitStruct.Mode = GPIO_MODE_IT_RISING;
  GPIO_InitStruct.Pull = GPIO_NOPULL;
  HAL_GPIO_Init(GPIOD, &GPIO_InitStruct);

  /*Configure GPIO pins : USB_OTG_FS_PWR_EN_Pin SPBTLE_RF_SPI3_CSN_Pin PMOD_RESET_Pin STSAFE_A100_RESET_Pin */
  GPIO_InitStruct.Pin = USB_OTG_FS_PWR_EN_Pin|SPBTLE_RF_SPI3_CSN_Pin|PMOD_RESET_Pin|STSAFE_A100_RESET_Pin;
  GPIO_InitStruct.Mode = GPIO_MODE_OUTPUT_PP;
  GPIO_InitStruct.Pull = GPIO_NOPULL;
  GPIO_InitStruct.Speed = GPIO_SPEED_FREQ_LOW;
  HAL_GPIO_Init(GPIOD, &GPIO_InitStruct);

  /*Configure GPIO pins : VL53L0X_XSHUT_Pin LED3_WIFI__LED4_BLE_Pin */
  GPIO_InitStruct.Pin = VL53L0X_XSHUT_Pin|LED3_WIFI__LED4_BLE_Pin;
  GPIO_InitStruct.Mode = GPIO_MODE_OUTPUT_PP;
  GPIO_InitStruct.Pull = GPIO_NOPULL;
  GPIO_InitStruct.Speed = GPIO_SPEED_FREQ_LOW;
  HAL_GPIO_Init(GPIOC, &GPIO_InitStruct);

  /*Configure GPIO pins : VL53L0X_GPIO1_EXTI7_Pin LSM3MDL_DRDY_EXTI8_Pin */
  GPIO_InitStruct.Pin = VL53L0X_GPIO1_EXTI7_Pin|LSM3MDL_DRDY_EXTI8_Pin;
  GPIO_InitStruct.Mode = GPIO_MODE_IT_RISING;
  GPIO_InitStruct.Pull = GPIO_NOPULL;
  HAL_GPIO_Init(GPIOC, &GPIO_InitStruct);

  /*Configure GPIO pin : SPBTLE_RF_RST_Pin */
  GPIO_InitStruct.Pin = SPBTLE_RF_RST_Pin;
  GPIO_InitStruct.Mode = GPIO_MODE_OUTPUT_PP;
  GPIO_InitStruct.Pull = GPIO_NOPULL;
  GPIO_InitStruct.Speed = GPIO_SPEED_FREQ_LOW;
  HAL_GPIO_Init(SPBTLE_RF_RST_GPIO_Port, &GPIO_InitStruct);

  /*Configure GPIO pin : PMOD_SPI2_SCK_Pin */
  GPIO_InitStruct.Pin = PMOD_SPI2_SCK_Pin;
  GPIO_InitStruct.Mode = GPIO_MODE_AF_PP;
  GPIO_InitStruct.Pull = GPIO_NOPULL;
  GPIO_InitStruct.Speed = GPIO_SPEED_FREQ_VERY_HIGH;
  GPIO_InitStruct.Alternate = GPIO_AF5_SPI2;
  HAL_GPIO_Init(PMOD_SPI2_SCK_GPIO_Port, &GPIO_InitStruct);

  /* EXTI interrupt init*/
  HAL_NVIC_SetPriority(EXTI9_5_IRQn, 5, 0);
  HAL_NVIC_EnableIRQ(EXTI9_5_IRQn);

  HAL_NVIC_SetPriority(EXTI15_10_IRQn, 5, 0);
  HAL_NVIC_EnableIRQ(EXTI15_10_IRQn);

}

/* USER CODE BEGIN 4 */
//function that posts all led tasks
void PostLedTasks()
{
    if (pcm.l1w)
    {
        pcm.l1w--;
        osSemaphoreRelease(led1_semHandle);
    }

    if (pcm.l2w)
    {
        pcm.l2w--;
        osSemaphoreRelease(led2_semHandle);
    }

    if (pcm.l3w)
    {
        pcm.l3w--;
        osSemaphoreRelease(led3_semHandle);
    }
}

//function that post all panel tasks
void PostPanelTasks()
{
    if (pcm.lpw)
    {
        pcm.lpw--;
        osSemaphoreRelease(lpanel_semHandle);
    }

    if (pcm.rpw)
    {
        pcm.rpw--;
        osSemaphoreRelease(rpanel_semHandle);
    }
}

void ReadLPStart()
{
	osMutexWait(MutexPDHandle, osWaitForever);
	//if left panel task has done must waits next cycle
	if (pcm.lpanel_done)
		pcm.lpw++;
	else
		osSemaphoreRelease(lpanel_semHandle);
	osMutexRelease(MutexPDHandle);
	osSemaphoreWait(lpanel_semHandle, osWaitForever);
}

void ReadLPEnd()
{
	osMutexWait(MutexPDHandle, osWaitForever);
	//left panel has done. If every panels has done button task is awaked
	pcm.lpanel_done = 1;
	if (pcm.lpanel_done && pcm.rpanel_done)
	{
		pcm.button_can_do = 1;
		if (pcm.button_wait)
		{
			pcm.button_wait--;
			osSemaphoreRelease(button_semHandle);
		}
	 }
	osMutexRelease(MutexPDHandle);
}

void ReadRPStart()
{
	osMutexWait(MutexPDHandle, osWaitForever);
	//if right panel task has done must waits next cycle
	if (pcm.rpanel_done)
		pcm.rpw++;
	else
		osSemaphoreRelease(rpanel_semHandle);
	osMutexRelease(MutexPDHandle);
	osSemaphoreWait(rpanel_semHandle, osWaitForever);
}

void ReadRPEnd()
{
	osMutexWait(MutexPDHandle, osWaitForever);
	//right panel has done. If every panels has done button task is awaked
	pcm.rpanel_done = 1;
	if (pcm.lpanel_done && pcm.rpanel_done)
	{
		pcm.button_can_do = 1;
		if (pcm.button_wait)
		{
			pcm.button_wait--;
			osSemaphoreRelease(button_semHandle);
		}
	}
	osMutexRelease(MutexPDHandle);
}

void WriteL1Start()
{
	osMutexWait(MutexPDHandle, osWaitForever);
	//if led1 has done must waits next cycle
	if (pcm.led1_done)
		pcm.l1w++;
	else
		osSemaphoreRelease(led1_semHandle);
	osMutexRelease(MutexPDHandle);
	osSemaphoreWait(led1_semHandle, osWaitForever);
}

void WriteL2Start()
{
	osMutexWait(MutexPDHandle, osWaitForever);
	//if led2 has done must waits next cycle
	if (pcm.led2_done)
		pcm.l2w++;
	else
		osSemaphoreRelease(led2_semHandle);
	osMutexRelease(MutexPDHandle);
	osSemaphoreWait(led2_semHandle, osWaitForever);
}

void WriteL3Start()
{
	osMutexWait(MutexPDHandle, osWaitForever);
	//if led3 has done must waits next cycle
	if (pcm.led3_done)
		pcm.l3w++;
	else
		osSemaphoreRelease(led3_semHandle);
	osMutexRelease(MutexPDHandle);
	osSemaphoreWait(led3_semHandle, osWaitForever);
}

void WriteL1End()
{
	osMutexWait(MutexPDHandle, osWaitForever);
	//when led1 task has done, led1_done is setted true.
	//if all the led tasks are done panel tasks are awaked
	pcm.led1_done = 1;
	if (pcm.led1_done && pcm.led2_done && pcm.led3_done)
	{
		pcm.lpanel_done = pcm.rpanel_done = 0;
		PostPanelTasks();
	}
	osMutexRelease(MutexPDHandle);
}

void WriteL2End()
{
	osMutexWait(MutexPDHandle, osWaitForever);
	//when led2 task has done, led1_done is setted true.
	//if all the led tasks are done panel tasks are awaked
	pcm.led2_done = 1;
	if (pcm.led1_done && pcm.led2_done && pcm.led3_done)
	{
		pcm.lpanel_done = pcm.rpanel_done = 0; //set panels undone for the next cycle
		PostPanelTasks();
	}
	osMutexRelease(MutexPDHandle);
}

void WriteL3End()
{
	osMutexWait(MutexPDHandle, osWaitForever);
	//when led3 task has done, led1_done is setted true.
	//if all the led tasks are done panel tasks are awaked
	pcm.led3_done = 1;
	if (pcm.led1_done && pcm.led2_done && pcm.led3_done)
	{
		pcm.lpanel_done = pcm.rpanel_done = 0;
		PostPanelTasks();
	}
	osMutexRelease(MutexPDHandle);
}

void StartReadButton()
{
	osMutexWait(MutexPDHandle, osWaitForever);

	if (pcm.button_can_do)
		osSemaphoreRelease(button_semHandle);
	else
		pcm.button_wait++;
	osMutexRelease(MutexPDHandle);
	osSemaphoreWait(button_semHandle, osWaitForever);
}

void EndReadButton()
{
	osMutexWait(MutexPDHandle, osWaitForever);
	//button task now waits the next cycle
	pcm.button_can_do = 0;
	pcm.button_wait = 0;
	//unlock led tasks
	pcm.led1_done = pcm.led2_done = pcm.led3_done = 0;
	PostLedTasks();
	osMutexRelease(MutexPDHandle);
}
/* USER CODE END 4 */

void StartReadLeftPanel(void const * argument)
{
  /* USER CODE BEGIN 5 */
  /* Infinite loop */

	for(;;)
	{
		ReadLPStart();
		// Get left panel value
		HAL_ADC_Start(&hadc2);
		// Convert value into integer
		HAL_ADC_PollForConversion(&hadc2, HAL_MAX_DELAY);
		// Get percent value of it
		pd.leftPanelValue = HAL_ADC_GetValue(&hadc2)*100/2400;

		ReadLPEnd();

		// Delay time (msec)
		osDelay(100);
  }
  /* USER CODE END 5 */
}

void StartReadRightPanel(void const * argument)
{
  /* USER CODE BEGIN StartReadRightPanel */
  /* Infinite loop */
  for(;;)
  {
	ReadRPStart();
	// Get right panel value
	HAL_ADC_Start(&hadc1);
	// Convert value into integer
	HAL_ADC_PollForConversion(&hadc1, HAL_MAX_DELAY);
	// Get percent value of it
	pd.rightPanelValue = HAL_ADC_GetValue(&hadc1)*100/2400;

	ReadRPEnd();

    osDelay(100);
  }
  /* USER CODE END StartReadRightPanel */
}

void StartSerialDebug(void const * argument)
{
  /* USER CODE BEGIN StartSerialDebug */
  /* Infinite loop */
  for(;;)
  {
	char msg[50];

	/** Update panel data structure values **/
	// Lock data reads semaphore

	#ifdef SERIAL
	osMutexWait(MutexPDHandle, osWaitForever);

  	// Get data
	sprintf(msg, "Light Panel Right = %hu\r\nLight Panel Left = %hu\r\nThr = %hu\r\nVar = %hu\r\n", pd.rightPanelValue, pd.leftPanelValue, pd.threshold, pd.variation);

	// Unlock data reads semaphore
	osMutexRelease(MutexPDHandle);

	// Print data
	HAL_UART_Transmit(&huart1, (uint8_t *) msg, strlen(msg), HAL_MAX_DELAY);
	#endif

	#ifdef BLUETOOTH
    /** Update panel data structure values **/
	osMutexWait(MutexPDHandle, osWaitForever);

    // Get data
    sprintf(msg, "Light Panel Right = %hu\r\nLight Panel Left = %hu\r\nThr = %hu\r\nVar = %hu\r\n", pd.rightPanelValue, pd.leftPanelValue, pd.threshold, pd.variation);

	// Unlock data reads semaphore
    osMutexRelease(MutexPDHandle);

    // Print data
    HAL_UART_Transmit(&huart4, (uint8_t *) msg, strlen(msg), HAL_MAX_DELAY);
	#endif

	// Delay time (msec)
	osDelay(3000);
  }
  /* USER CODE END StartSerialDebug */
}

void StartSyncButton(void const * argument)
{
  /* USER CODE BEGIN StartSynkButton */
  /* Infinite loop */
  for(;;)
  {
	  StartReadButton();
	  // If interrupt on button of huart4 occurred this value will be 1
	  if (blue_button_pressed) {
		  // Reset flag
		  blue_button_pressed = 0;
		  // Set threshold
		  pd.threshold = pd.leftPanelValue<pd.rightPanelValue?pd.leftPanelValue:pd.rightPanelValue;
		  // Set variation
		  pd.variation = abs(pd.leftPanelValue - pd.rightPanelValue);
	  }
	  EndReadButton();
	  // Delay time (msec)
	  osDelay(100);
  }
  /* USER CODE END StartSynkButton */
}

void StartLedTask1(void const * argument)
{
  /* USER CODE BEGIN StartLedTask1 */
  /* Infinite loop */
  for(;;)
  {
	  WriteL1Start();
	  // Get values from data structure
	  int lpv = pd.leftPanelValue;
	  int rpv = pd.rightPanelValue;
	  int var = pd.variation;
	  int th = pd.threshold;
	  /**If variance between panels values is lower than threshold one
	   * and right and left panel values are higher than minimum threshold
	   */
	  if ((abs(rpv-lpv)<var) && (rpv>th && lpv>th))
	  {
		  // Turn on green led
		  HAL_GPIO_WritePin(LED2_GPIO_Port, LED2_Pin, GPIO_PIN_SET);
	  }
	  WriteL1End();
	  // Delay time (msec)
	  osDelay(100);
  }
  /* USER CODE END StartLedTask1 */
}

void StartLedTask2(void const * argument)
{
  /* USER CODE BEGIN StartLedTask2 */
  /* Infinite loop */
  for(;;)
  {
	  WriteL2Start();
	  // Get values from data structure
	  int lpv = pd.leftPanelValue;
	  int rpv = pd.rightPanelValue;
	  int var = pd.variation;
	  int th = pd.threshold;
	  /**If variance between panels values is higher than threshold one
	   * and right panel value is higher than left one
	   */
	  if (abs(rpv-lpv)>var && (rpv>=lpv))
	  {
		  // Turn off green led
		  HAL_GPIO_WritePin(LED2_GPIO_Port, LED2_Pin, GPIO_PIN_RESET);
	  	  // Turn on blue led
		  HAL_GPIO_WritePin(LED3_WIFI__LED4_BLE_GPIO_Port, LED3_WIFI__LED4_BLE_Pin, GPIO_PIN_SET);
	  }
	  WriteL2End();
	  // Delay time (msec)
	  osDelay(100);
  }
  /* USER CODE END StartLedTask2 */
}

void StartLedTask3(void const * argument)
{
  /* USER CODE BEGIN StartLedTask3 */
  /* Infinite loop */
  for(;;)
  {
	  WriteL3Start();
	  // Get values from data structure
	  int lpv = pd.leftPanelValue;
	  int rpv = pd.rightPanelValue;
	  int var = pd.variation;
	  int th = pd.threshold;
	  /**If variance between panels values is higher than threshold one
	   * and right panel value is lower than left one
	   */
	  if (abs(rpv-lpv)>var && rpv<lpv)
	  {
		  // Turn off green light
		  HAL_GPIO_WritePin(LED2_GPIO_Port, LED2_Pin, GPIO_PIN_RESET);
		  // Turn on yellow light
		  HAL_GPIO_WritePin(LED3_WIFI__LED4_BLE_GPIO_Port, LED3_WIFI__LED4_BLE_Pin, GPIO_PIN_RESET);
	  }
	  WriteL3End();
	  // Delay time (msec)
	  osDelay(100);
  }
  /* USER CODE END StartLedTask3 */
}

void HAL_TIM_PeriodElapsedCallback(TIM_HandleTypeDef *htim)
{
  if (htim->Instance == TIM1) {
    HAL_IncTick();
  }
}

void Error_Handler(void)
{
}

/************************ (C) COPYRIGHT STMicroelectronics *****END OF FILE****/
